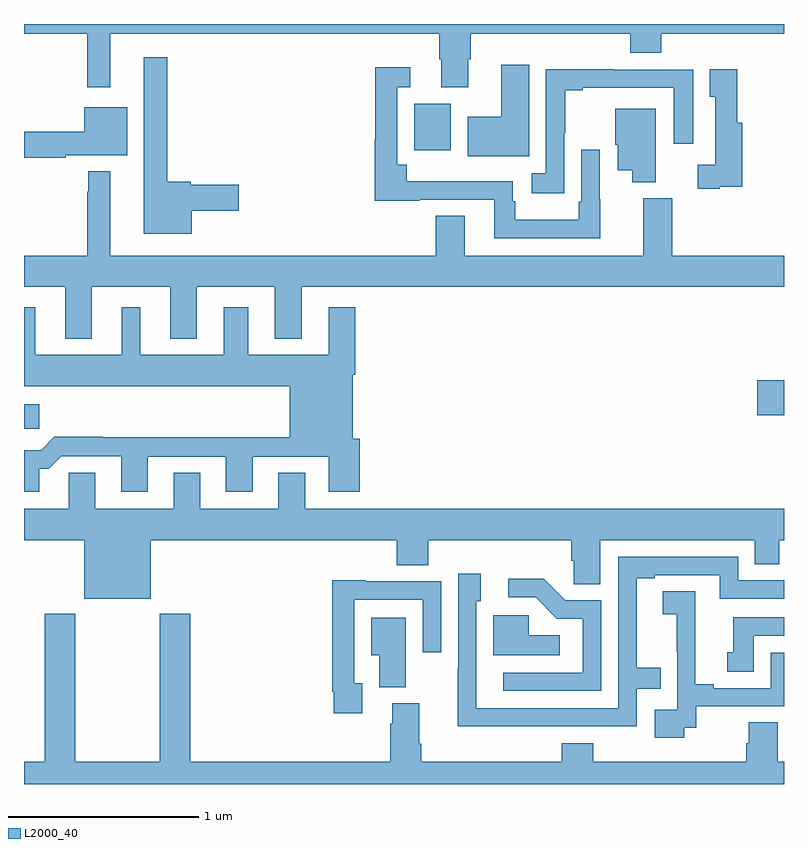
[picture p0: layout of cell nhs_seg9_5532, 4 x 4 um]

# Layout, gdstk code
import gdstk
lib = gdstk.Library(unit=1e-6, precision=1e-09)
def R(c, l, rs):  # rectangles x0, y0, x1, y1
    for r in rs: c.add(gdstk.rectangle(r[:2], r[2:], *l))
def P(c, l, *ps):  # polygons
    for p in ps: c.add(gdstk.Polygon(p, *l))
L2000_40 = (2000, 40)

nhs_seg9_5532 = lib.new_cell('nhs_seg9_5532')
R(nhs_seg9_5532, L2000_40, [(433,1166.371,433.081,1166.5), (436.86,1166.441,437,1166.624), (435.053,1167.836,435.247,1168.081)])
P(nhs_seg9_5532, L2000_40, [(435.337,1168.314),(435.35,1168.314),(435.35,1168.448),(436.19,1168.448),(436.19,1168.349),(436.355,1168.349),(436.355,1168.448),(437,1168.448),(437,1168.5),(433,1168.5),(433,1168.448),(433.332,1168.448),(433.332,1168.167),(433.453,1168.167),(433.453,1168.448),(435.185,1168.448),(435.185,1168.314),(435.197,1168.314),(435.197,1168.166),(435.337,1168.166)],
  [(433.882,1167.518),(434.131,1167.518),(434.131,1167.653),(433.878,1167.653),(433.878,1167.671),(433.753,1167.671),(433.753,1168.324),(433.631,1168.324),(433.631,1167.395),(433.882,1167.395)],
  [(435.658,1168.285),(435.512,1168.285),(435.512,1168.012),(435.335,1168.012),(435.335,1167.803),(435.658,1167.803)],
  [(436.032,1167.578),(436.029,1167.578),(436.029,1167.838),(435.933,1167.838),(435.933,1167.565),(435.921,1167.565),(435.921,1167.469),(435.586,1167.469),(435.586,1167.567),(435.573,1167.567),(435.573,1167.673),(435.014,1167.673),(435.014,1167.76),(434.964,1167.76),(434.964,1168.167),(435.034,1168.167),(435.034,1168.273),(434.848,1168.273),(434.848,1167.894),(434.847,1167.894),(434.847,1167.571),(435.083,1167.571),(435.083,1167.576),(435.476,1167.576),(435.476,1167.372),(436.032,1167.372)],
  [(435.843,1167.925),(435.848,1167.925),(435.848,1168.152),(435.94,1168.152),(435.94,1168.164),(436.421,1168.164),(436.421,1167.87),(436.522,1167.87),(436.522,1168.26),(436.106,1168.26),(436.106,1168.262),(435.747,1168.262),(435.747,1167.714),(435.672,1167.714),(435.672,1167.609),(435.843,1167.609)],
  [(436.661,1167.644),(436.781,1167.644),(436.781,1167.979),(436.754,1167.979),(436.754,1168.261),(436.61,1168.261),(436.61,1168.116),(436.638,1168.116),(436.638,1167.758),(436.545,1167.758),(436.545,1167.634),(436.661,1167.634)],
  [(433.22,1167.809),(433.543,1167.809),(433.543,1168.063),(433.316,1168.063),(433.316,1167.932),(433,1167.932),(433,1167.796),(433.22,1167.796)],
  [(436.324,1168.054),(436.112,1168.054),(436.112,1167.864),(436.124,1167.864),(436.124,1167.731),(436.202,1167.731),(436.202,1167.668),(436.324,1167.668)],
  [(437,1167.28),(436.412,1167.28),(436.412,1167.583),(436.259,1167.583),(436.259,1167.28),(435.319,1167.28),(435.319,1167.491),(435.167,1167.491),(435.167,1167.28),(433.453,1167.28),(433.453,1167.724),(433.338,1167.724),(433.338,1167.617),(433.332,1167.617),(433.332,1167.28),(433,1167.28),(433,1167.116),(433.217,1167.116),(433.217,1166.843),(433.357,1166.843),(433.357,1167.116),(433.769,1167.116),(433.769,1166.843),(433.909,1166.843),(433.909,1167.116),(434.321,1167.116),(434.321,1166.843),(434.461,1166.843),(434.461,1167.116),(437,1167.116)],
  [(433.081,1166.159),(433.13,1166.159),(433.197,1166.226),(433.511,1166.226),(433.511,1166.037),(433.651,1166.037),(433.651,1166.223),(434.063,1166.223),(434.063,1166.037),(434.203,1166.037),(434.203,1166.223),(434.603,1166.223),(434.603,1166.037),(434.768,1166.037),(434.768,1166.316),(434.731,1166.316),(434.731,1166.654),(434.744,1166.654),(434.744,1167.01),(434.603,1167.01),(434.603,1166.758),(434.179,1166.758),(434.179,1167.01),(434.051,1167.01),(434.051,1166.758),(433.612,1166.758),(433.612,1167.01),(433.514,1167.01),(433.514,1166.758),(433.06,1166.758),(433.06,1167.01),(433,1167.01),(433,1166.594),(434.399,1166.594),(434.399,1166.324),(433.415,1166.324),(433.415,1166.327),(433.16,1166.327),(433.09,1166.257),(433,1166.257),(433,1166.037),(433.081,1166.037)],
  [(433.666,1165.784),(434.963,1165.784),(434.963,1165.651),(435.128,1165.651),(435.128,1165.784),(435.881,1165.784),(435.881,1165.675),(435.894,1165.675),(435.894,1165.552),(436.033,1165.552),(436.033,1165.784),(436.847,1165.784),(436.847,1165.657),(436.974,1165.657),(436.974,1165.784),(437,1165.784),(437,1165.948),(434.479,1165.948),(434.479,1166.138),(434.339,1166.138),(434.339,1165.948),(433.927,1165.948),(433.927,1166.138),(433.787,1166.138),(433.787,1165.948),(433.375,1165.948),(433.375,1166.138),(433.236,1166.138),(433.236,1165.948),(433,1165.948),(433,1165.784),(433.316,1165.784),(433.316,1165.475),(433.666,1165.475)],
  [(435.746,1164.804),(436.224,1164.804),(436.224,1165.002),(436.352,1165.002),(436.352,1165.111),(436.225,1165.111),(436.225,1165.584),(436.321,1165.584),(436.321,1165.599),(436.662,1165.599),(436.662,1165.476),(437,1165.476),(437,1165.572),(436.758,1165.572),(436.758,1165.695),(436.128,1165.695),(436.128,1164.9),(435.381,1164.9),(435.381,1165.461),(435.403,1165.461),(435.403,1165.606),(435.285,1165.606),(435.285,1165.106),(435.284,1165.106),(435.284,1164.803),(435.746,1164.803)],
  [(436.038,1165.467),(435.849,1165.467),(435.736,1165.58),(435.549,1165.58),(435.549,1165.482),(435.693,1165.482),(435.804,1165.371),(435.942,1165.371),(435.942,1165.086),(435.522,1165.086),(435.522,1164.99),(436.038,1164.99)],
  [(434.779,1165.029),(434.739,1165.029),(434.739,1165.47),(435.099,1165.47),(435.099,1165.194),(435.195,1165.194),(435.195,1165.566),(434.799,1165.566),(434.799,1165.573),(434.623,1165.573),(434.623,1164.985),(434.631,1164.985),(434.631,1164.873),(434.779,1164.873)],
  [(436.476,1164.795),(436.538,1164.795),(436.538,1164.909),(437,1164.909),(437,1165.191),(436.929,1165.191),(436.929,1165.005),(436.63,1165.005),(436.63,1165.025),(436.534,1165.025),(436.534,1165.403),(436.532,1165.403),(436.532,1165.514),(436.362,1165.514),(436.362,1165.393),(436.436,1165.393),(436.436,1165.195),(436.437,1165.195),(436.437,1164.891),(436.32,1164.891),(436.32,1164.744),(436.476,1164.744)],
  [(437,1164.616),(436.967,1164.616),(436.967,1164.824),(436.814,1164.824),(436.814,1164.714),(436.802,1164.714),(436.802,1164.616),(435.995,1164.616),(435.995,1164.715),(435.83,1164.715),(435.83,1164.616),(435.092,1164.616),(435.092,1164.712),(435.079,1164.712),(435.079,1164.924),(434.939,1164.924),(434.939,1164.818),(434.927,1164.818),(434.927,1164.616),(433.874,1164.616),(433.874,1165.396),(433.714,1165.396),(433.714,1164.616),(433.269,1164.616),(433.269,1165.396),(433.109,1165.396),(433.109,1164.616),(433,1164.616),(433,1164.5),(437,1164.5)],
  [(435.82,1165.282),(435.657,1165.282),(435.657,1165.389),(435.47,1165.389),(435.47,1165.178),(435.82,1165.178)],
  [(436.84,1165.281),(437,1165.281),(437,1165.377),(436.733,1165.377),(436.733,1165.194),(436.7,1165.194),(436.7,1165.09),(436.84,1165.09)],
  [(435.01,1165.375),(434.828,1165.375),(434.828,1165.178),(434.87,1165.178),(434.87,1165.009),(435.01,1165.009)])

lib.write_gds('nhs_seg9_5532.gds')
